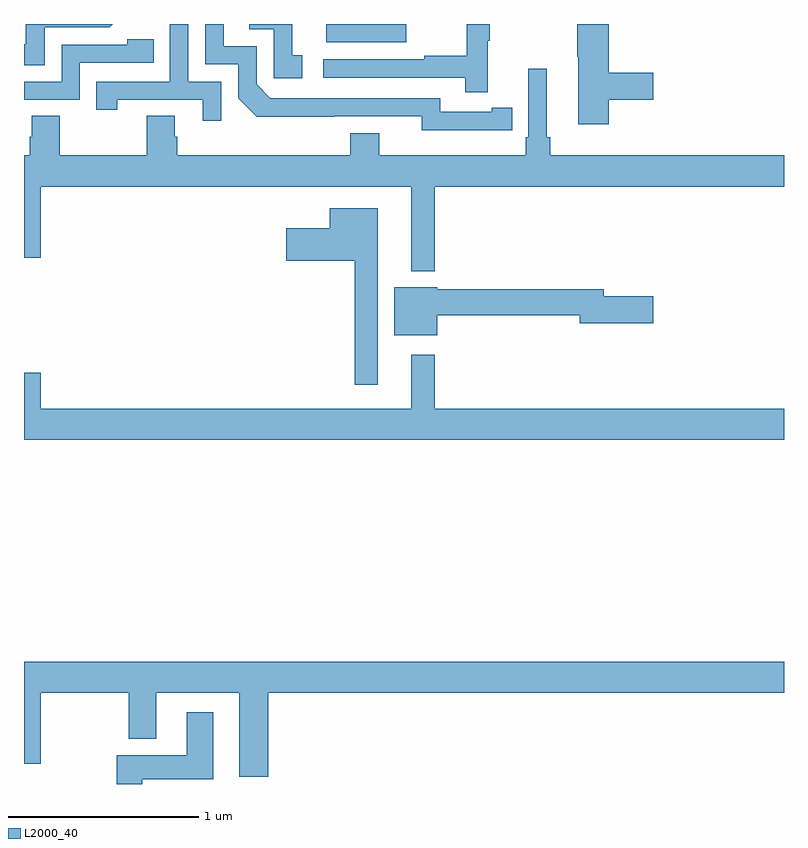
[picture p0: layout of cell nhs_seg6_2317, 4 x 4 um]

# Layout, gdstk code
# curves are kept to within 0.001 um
import gdstk
lib = gdstk.Library(unit=1e-6, precision=1e-09)
def R(c, l, rs):  # rectangles x0, y0, x1, y1
    for r in rs: c.add(gdstk.rectangle(r[:2], r[2:], *l))
def P(c, l, *ps):  # polygons
    for p in ps: c.add(gdstk.Polygon(p, *l))
L2000_40 = (2000, 40)

nhs_seg6_2317 = lib.new_cell('nhs_seg6_2317')
R(nhs_seg6_2317, L2000_40, [(250.592,973.403,251.011,973.5)])
P(nhs_seg6_2317, L2000_40, [(251.462,972.942),(251.57,972.942),(251.57,973.058),(251.462,973.058),(251.462,973.038),(251.19,973.038),(251.19,973.11),(250.296,973.11),(250.224,973.182),(250.224,973.383),(250.051,973.383),(250.051,973.5),(249.954,973.5),(249.954,973.287),(250.128,973.287),(250.128,973.11),(250.226,973.013),(251.094,973.014),(251.094,972.941)],
  [(250.465,973.335),(250.412,973.335),(250.412,973.5),(250.185,973.5),(250.185,973.473),(250.314,973.473),(250.314,973.215),(250.465,973.215)],
  [(251.441,973.411),(251.452,973.411),(251.452,973.5),(251.331,973.5),(251.331,973.334),(251.107,973.334),(251.107,973.314),(250.575,973.314),(250.575,973.218),(251.323,973.218),(251.323,973.14),(251.441,973.14)],
  [(252.077,973.102),(252.313,973.102),(252.313,973.244),(252.077,973.244),(252.077,973.5),(251.911,973.5),(251.911,973.327),(251.918,973.327),(251.918,972.972),(252.077,972.972)],
  [(249.108,973.482),(249.45,973.482),(249.468,973.5),(249.01,973.5),(249.01,973.393),(249,973.393),(249,973.284),(249.108,973.284)],
  [(250.038,973.197),(249.864,973.197),(249.864,973.5),(249.768,973.5),(249.768,973.197),(249.379,973.197),(249.379,973.05),(249.49,973.05),(249.49,973.101),(249.941,973.101),(249.941,972.99),(250.038,972.99)],
  [(249.294,973.296),(249.683,973.296),(249.683,973.419),(249.543,973.419),(249.543,973.392),(249.198,973.392),(249.198,973.197),(249,973.197),(249,973.101),(249.294,973.101)],
  [(251.161,972.644),(253,972.644),(253,972.808),(251.771,972.808),(251.771,972.904),(251.752,972.904),(251.752,973.264),(251.655,973.264),(251.655,972.904),(251.642,972.904),(251.642,972.808),(250.87,972.808),(250.87,972.925),(250.718,972.925),(250.718,972.808),(249.806,972.808),(249.806,972.906),(249.793,972.906),(249.793,973.016),(249.646,973.016),(249.646,972.808),(249.189,972.808),(249.189,973.016),(249.041,973.016),(249.041,972.906),(249.029,972.906),(249.029,972.808),(249,972.808),(249,972.27),(249.088,972.27),(249.088,972.644),(251.039,972.644),(251.039,972.2),(251.161,972.2)],
  [(250.861,972.529),(250.61,972.529),(250.61,972.424),(250.38,972.424),(250.38,972.254),(250.74,972.254),(250.74,971.601),(250.861,971.601)],
  [(251.176,971.968),(251.924,971.968),(251.924,971.926),(252.313,971.926),(252.313,972.068),(252.052,972.068),(252.052,972.104),(251.176,972.104),(251.176,972.115),(250.949,972.115),(250.949,971.861),(251.176,971.861)],
  [(253,971.476),(251.161,971.476),(251.161,971.758),(251.039,971.758),(251.039,971.476),(249.088,971.476),(249.088,971.665),(249,971.665),(249,971.312),(253,971.312)],
  [(250.286,969.98),(253,969.98),(253,970.144),(249,970.144),(249,969.606),(249.088,969.606),(249.088,969.98),(249.55,969.98),(249.55,969.737),(249.697,969.737),(249.697,969.98),(250.133,969.98),(250.133,969.539),(250.286,969.539)],
  [(249.622,969.524),(249.997,969.524),(249.997,969.877),(249.857,969.877),(249.857,969.652),(249.488,969.652),(249.488,969.5),(249.622,969.5)])

lib.write_gds('nhs_seg6_2317.gds')
